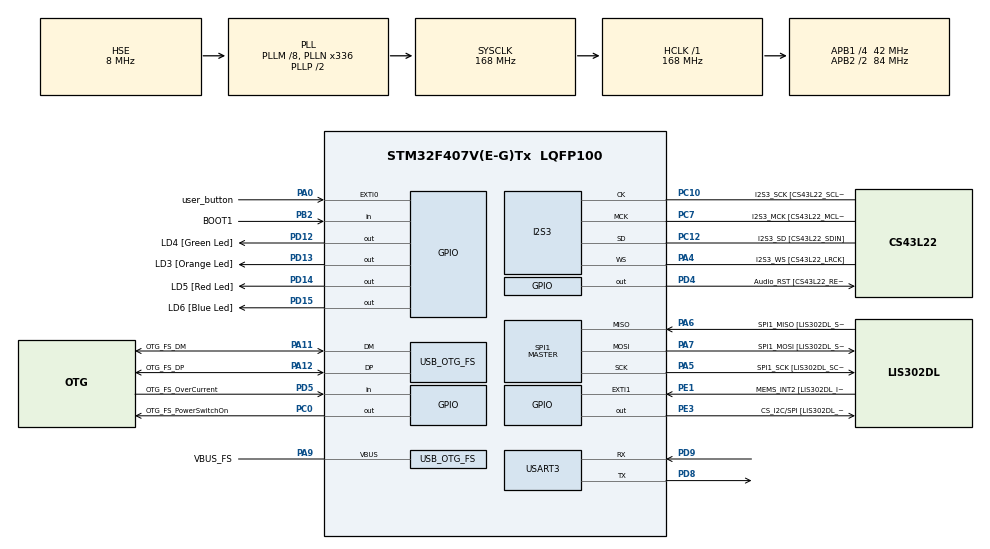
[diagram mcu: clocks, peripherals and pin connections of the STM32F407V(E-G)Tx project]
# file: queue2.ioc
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I2S3.AudioFreq-Half_Duplex_Master=I2S_AUDIOFREQ_96K
I2S3.ErrorAudioFreq=-2.34 %
I2S3.ErrorAudioFreq-Half_Duplex_Master=0.8 %
I2S3.FullDuplexMode=I2S_FULLDUPLEXMODE_DISABLE
I2S3.Instance=SPI$Index
I2S3.RealAudioFreq=93.75 KHz
I2S3.RealAudioFreq-Half_Duplex_Master=96.774 KHz
I2S3.VirtualMode=I2S_MODE_MASTER
Mcu.Family=STM32F4
Mcu.Name=STM32F407V(E-G)Tx
Mcu.Package=LQFP100
NVIC.OTG_FS_IRQn=true\:0\:0\:false\:false\:true\:true\:true\:true
NVIC.PriorityGroup=NVIC_PRIORITYGROUP_0
NVIC.USART3_IRQn=true\:0\:0\:false\:false\:true\:true\:true\:true
PA0-WKUP.GPIO_Label=user_button
PA0-WKUP.GPIO_ModeDefaultEXTI=GPIO_MODE_EVT_RISING
PA0-WKUP.GPIO_PuPd=GPIO_NOPULL
PA0-WKUP.Signal=GPXTI0
PA10.GPIO_Label=OTG_FS_ID
PA10.GPIO_Mode=GPIO_MODE_AF_PP
PA10.GPIO_PuPd=GPIO_NOPULL
PA10.GPIO_Speed=GPIO_SPEED_FREQ_LOW
PA10.Signal=USB_OTG_FS_ID
PA11.GPIO_Label=OTG_FS_DM
PA11.GPIO_Mode=GPIO_MODE_AF_PP
PA11.GPIO_PuPd=GPIO_NOPULL
PA11.GPIO_Speed=GPIO_SPEED_FREQ_LOW
PA11.Mode=Host_Only
PA11.Signal=USB_OTG_FS_DM
PA12.GPIO_Label=OTG_FS_DP
PA12.GPIO_Mode=GPIO_MODE_AF_PP
PA12.GPIO_PuPd=GPIO_NOPULL
PA12.GPIO_Speed=GPIO_SPEED_FREQ_LOW
PA12.Mode=Host_Only
PA12.Signal=USB_OTG_FS_DP
PA13.GPIO_Label=SWDIO
PA13.Mode=Serial_Wire
PA13.Signal=SYS_JTMS-SWDIO
PA14.GPIO_Label=SWCLK
PA14.Mode=Serial_Wire
PA14.Signal=SYS_JTCK-SWCLK
PA4.GPIO_Label=I2S3_WS [CS43L22_LRCK]
PA4.GPIO_Mode=GPIO_MODE_AF_PP
PA4.GPIO_PuPd=GPIO_NOPULL
PA4.GPIO_Speed=GPIO_SPEED_FREQ_LOW
PA4.Mode=Half_Duplex_Master
PA4.Signal=I2S3_WS
PA5.GPIO_Label=SPI1_SCK [LIS302DL_SCL/SPC]
PA5.GPIO_Mode=GPIO_MODE_AF_PP
PA5.GPIO_PuPd=GPIO_NOPULL
PA5.GPIO_Speed=GPIO_SPEED_FREQ_LOW
PA5.Mode=Full_Duplex_Master
PA5.Signal=SPI1_SCK
PA6.GPIO_Label=SPI1_MISO [LIS302DL_SDO]
PA6.GPIO_Mode=GPIO_MODE_AF_PP
PA6.GPIO_PuPd=GPIO_NOPULL
PA6.GPIO_Speed=GPIO_SPEED_FREQ_LOW
PA6.Mode=Full_Duplex_Master
PA6.Signal=SPI1_MISO
PA7.GPIO_Label=SPI1_MOSI [LIS302DL_SDA/SDI/SDO]
PA7.GPIO_Mode=GPIO_MODE_AF_PP
PA7.GPIO_PuPd=GPIO_NOPULL
PA7.GPIO_Speed=GPIO_SPEED_FREQ_LOW
PA7.Mode=Full_Duplex_Master
PA7.Signal=SPI1_MOSI
PA9.GPIO_Label=VBUS_FS
PA9.GPIO_Mode=GPIO_MODE_INPUT
PA9.GPIO_PuPd=GPIO_NOPULL
PA9.Mode=Activate_VBUS
PA9.Signal=USB_OTG_FS_VBUS
PB10.GPIO_Label=CLK_IN [MP45DT02_CLK]
PB10.GPIO_Mode=GPIO_MODE_AF_PP
PB10.GPIO_PuPd=GPIO_NOPULL
PB10.GPIO_Speed=GPIO_SPEED_FREQ_LOW
PB10.Signal=I2S2_CK
PB2.GPIO_Label=BOOT1
PB2.GPIO_Mode=GPIO_MODE_INPUT
PB2.GPIO_PuPd=GPIO_NOPULL
PB2.Signal=GPIO_Input
PB3.GPIO_Label=SWO
PB3.Signal=SYS_JTDO-SWO
PB6.GPIO_Label=Audio_SCL [CS43L22_SCL]
PB6.GPIO_Mode=GPIO_MODE_AF_OD
PB6.GPIO_Pu=GPIO_PULLUP
PB6.GPIO_PuPd=GPIO_NOPULL
PB6.GPIO_Speed=GPIO_SPEED_FREQ_LOW
PB6.Signal=I2C1_SCL
PB9.GPIO_Label=Audio_SDA [CS43L22_SDA]
PB9.GPIO_Mode=GPIO_MODE_AF_OD
PB9.GPIO_Pu=GPIO_PULLUP
PB9.GPIO_PuPd=GPIO_NOPULL
PB9.GPIO_Speed=GPIO_SPEED_FREQ_LOW
PB9.Signal=I2C1_SDA
PC0.GPIO_Label=OTG_FS_PowerSwitchOn
PC0.GPIO_PuPd=GPIO_NOPULL
PC0.GPIO_Speed=GPIO_SPEED_FREQ_LOW
PC0.PinState=GPIO_PIN_SET
PC0.Signal=GPIO_Output
PC10.GPIO_Label=I2S3_SCK [CS43L22_SCLK]
PC10.GPIO_Mode=GPIO_MODE_AF_PP
PC10.GPIO_PuPd=GPIO_NOPULL
PC10.GPIO_Speed=GPIO_SPEED_FREQ_LOW
PC10.Mode=Half_Duplex_Master
PC10.Signal=I2S3_CK
PC12.GPIO_Label=I2S3_SD [CS43L22_SDIN]
PC12.GPIO_Mode=GPIO_MODE_AF_PP
PC12.GPIO_PuPd=GPIO_NOPULL
PC12.GPIO_Speed=GPIO_SPEED_FREQ_LOW
PC12.Mode=Half_Duplex_Master
PC12.Signal=I2S3_SD
PC14-OSC32_IN.GPIO_Label=PC14-OSC32_IN
PC14-OSC32_IN.Mode=LSE-External-Oscillator
PC14-OSC32_IN.Signal=RCC_OSC32_IN
PC15-OSC32_OUT.GPIO_Label=PC15-OSC32_OUT
PC15-OSC32_OUT.Mode=LSE-External-Oscillator
PC15-OSC32_OUT.Signal=RCC_OSC32_OUT
PC3.GPIO_Label=PDM_OUT [MP45DT02_DOUT]
PC3.GPIO_Mode=GPIO_MODE_AF_PP
PC3.GPIO_PuPd=GPIO_NOPULL
PC3.GPIO_Speed=GPIO_SPEED_FREQ_LOW
PC3.Signal=I2S2_SD
PC7.GPIO_Label=I2S3_MCK [CS43L22_MCLK]
PC7.GPIO_Mode=GPIO_MODE_AF_PP
PC7.GPIO_PuPd=GPIO_NOPULL
PC7.GPIO_Speed=GPIO_SPEED_FREQ_LOW
PC7.Mode=Master_Clock_Activated
PC7.Signal=I2S3_MCK
PD12.GPIO_Label=LD4 [Green Led]
PD12.GPIO_PuPd=GPIO_NOPULL
PD12.GPIO_Speed=GPIO_SPEED_FREQ_LOW
PD12.Signal=GPIO_Output
PD13.GPIO_Label=LD3 [Orange Led]
PD13.GPIO_PuPd=GPIO_NOPULL
PD13.GPIO_Speed=GPIO_SPEED_FREQ_LOW
PD13.Signal=GPIO_Output
PD14.GPIO_Label=LD5 [Red Led]
PD14.GPIO_PuPd=GPIO_NOPULL
PD14.GPIO_Speed=GPIO_SPEED_FREQ_LOW
PD14.Signal=GPIO_Output
PD15.GPIO_Label=LD6 [Blue Led]
PD15.GPIO_PuPd=GPIO_NOPULL
PD15.GPIO_Speed=GPIO_SPEED_FREQ_LOW
PD15.Signal=GPIO_Output
PD4.GPIO_Label=Audio_RST [CS43L22_RESET]
PD4.GPIO_PuPd=GPIO_NOPULL
PD4.GPIO_Speed=GPIO_SPEED_FREQ_LOW
PD4.Signal=GPIO_Output
PD5.GPIO_Label=OTG_FS_OverCurrent
PD5.GPIO_Mode=GPIO_MODE_INPUT
PD5.GPIO_PuPd=GPIO_NOPULL
PD5.Signal=GPIO_Input
PD8.Mode=Asynchronous
PD8.Signal=USART3_TX
PD9.Mode=Asynchronous
PD9.Signal=USART3_RX
PE1.GPIO_Label=MEMS_INT2 [LIS302DL_INT2]
PE1.GPIO_ModeDefaultEXTI=GPIO_MODE_EVT_RISING
PE1.GPIO_PuPd=GPIO_NOPULL
PE1.Signal=GPXTI1
PE3.GPIO_Label=CS_I2C/SPI [LIS302DL_CS_I2C/SPI]
PE3.GPIO_PuPd=GPIO_NOPULL
PE3.GPIO_Speed=GPIO_SPEED_FREQ_LOW
PE3.Signal=GPIO_Output
PH0-OSC_IN.GPIO_Label=PH0-OSC_IN
PH0-OSC_IN.Mode=HSE-External-Oscillator
PH0-OSC_IN.Signal=RCC_OSC_IN
PH1-OSC_OUT.GPIO_Label=PH1-OSC_OUT
PH1-OSC_OUT.Mode=HSE-External-Oscillator
PH1-OSC_OUT.Signal=RCC_OSC_OUT
ProjectManager.HeapSize=0x200
ProjectManager.StackSize=0x400
ProjectManager.TargetToolchain=STM32CubeIDE
RCC.48MHZClocksFreq_Value=48000000
RCC.AHBFreq_Value=168000000
RCC.APB1CLKDivider=RCC_HCLK_DIV4
RCC.APB1Freq_Value=42000000
RCC.APB1TimFreq_Value=84000000
RCC.APB2CLKDivider=RCC_HCLK_DIV2
RCC.APB2Freq_Value=84000000
RCC.APB2TimFreq_Value=168000000
RCC.CortexFreq_Value=168000000
RCC.HCLKFreq_Value=168000000
RCC.HSE_VALUE=8000000
RCC.HSI_VALUE=16000000
RCC.PLLM=8
RCC.PLLN=336
RCC.PLLQ=7
RCC.SYSCLKFreq_VALUE=168000000
RCC.SYSCLKSource=RCC_SYSCLKSOURCE_PLLCLK
RCC.VCOOutputFreq_Value=336000000
SPI1.BaudRatePrescaler-Full_Duplex_Master=SPI_BAUDRATEPRESCALER_2
SPI1.CalculateBaudRate-Full_Duplex_Master=42.0 MBits/s
SPI1.Direction=SPI_DIRECTION_2LINES
SPI1.Mode=SPI_MODE_MASTER
SPI1.Mode-Full_Duplex_Master=SPI_MODE_MASTER
SPI1.VirtualType=VM_MASTER
USART3.VirtualMode=VM_ASYNC
USB_HOST.BSP.number=1
USB_HOST.USBH_HandleTypeDef-CDC_FS=hUsbHostFS
USB_HOST.VirtualModeFS=Cdc
USB_HOST0.BSP.STBoard=false
USB_HOST0.BSP.api=Unknown
USB_HOST0.BSP.instance=PC0
USB_HOST0.BSP.ip=GPIO
USB_HOST0.BSP.mode=Output
USB_HOST0.BSP.name=Drive_VBUS_FS
USB_HOST0.BSP.solution=PC0
USB_OTG_FS.VirtualMode=Host_Only
USB_OTG_FS.phy_itface=HCD_PHY_EMBEDDED
VP_USB_HOST_VS_USB_HOST_CDC_FS.Mode=CDC_FS
board=STM32F407G-DISC1

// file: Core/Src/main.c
/* USER CODE BEGIN Header */
/**
  ******************************************************************************
  * @file           : main.c
  * @brief          : Main program body
  ******************************************************************************
  * @attention
  *
  * Copyright (c) 2022 STMicroelectronics.
  * All rights reserved.
  *
  * This software is licensed under terms that can be found in the LICENSE file
  * in the root directory of this software component.
  * If no LICENSE file comes with this software, it is provided AS-IS.
  *
  ******************************************************************************
  */
/* USER CODE END Header */
#include "main.h"
#include "usb_host.h"

/* USER CODE BEGIN Includes */
#include <stdio.h>
#include <stdbool.h>
#include <string.h>

#include "queue.h"

//#include <sys/msg.h>
/* USER CODE END Includes */

/* USER CODE BEGIN PTD */

Queue rx_Int_queue;

uint8_t uart_RX_data = 0;					// Buffer for receive one char

/* USER CODE END PTD */

I2S_HandleTypeDef hi2s3;

SPI_HandleTypeDef hspi1;

UART_HandleTypeDef huart3;

void SystemClock_Config(void);
static void MX_GPIO_Init(void);
static void MX_I2S3_Init(void);
static void MX_SPI1_Init(void);
static void MX_USART3_UART_Init(void);
void MX_USB_HOST_Process(void);

/* USER CODE BEGIN PFP */

// ------------------------------------------------------------------------------------------------
void print_text(char * text)
{
	int buf_size = 0;
	char buff[50] = {0};

	for(buf_size = 0; buf_size <= 100; buf_size++)
	{
		if(text[buf_size] == '\r')
		{
			buf_size++;
			break;
		}
	}

	memset(buff, text, buf_size);
	HAL_UART_Transmit_IT(&huart3, text, buf_size);
	HAL_Delay(10);
}
// ------------------------------------------------------------------------------------------------
#ifdef __GNUC__
#define PUTCHAR_PROTOTYPE int __io_putchar(int ch)
#else
#define PUTCHAR_PROTOTYPE int fputc(int ch, FILE *f)
#endif

PUTCHAR_PROTOTYPE
{
  HAL_UART_Transmit(&huart3, (uint8_t *)&ch, 1, HAL_MAX_DELAY);
  return ch;
}
/* USER CODE END PFP */

int main(void)
{

  /* MCU Configuration--------------------------------------------------------*/

  /* Reset of all peripherals, Initializes the Flash interface and the Systick. */
  HAL_Init();

  /* Configure the system clock */
  SystemClock_Config();

  /* Initialize all configured peripherals */
  MX_GPIO_Init();
  MX_I2S3_Init();
  MX_SPI1_Init();
  MX_USB_HOST_Init();
  MX_USART3_UART_Init();
  /* USER CODE BEGIN 2 */

  uint32_t tm_ms_tick;
  uint8_t sw, sw_old;
  uint16_t cnt_rcv, i;

//  char msg_buf[30] = {0};
//  strcat(msg_buf, "Hello \n\r");
//  HAL_UART_Transmit_IT(&huart3, msg_buf, sizeof(msg_buf));
  HAL_Delay(100);

  InitQueue(&rx_Int_queue);
  // __HAL_UART_ENABLE_IT(&huart3, UART_IT_RXNE);
  HAL_UART_Receive_IT(&huart3, &uart_RX_data, 1);

  tm_ms_tick = HAL_GetTick();
  sw = sw_old = HAL_GPIO_ReadPin(GPIOA, user_button_Pin);

  /* USER CODE END 2 */

  /* Infinite loop */
  /* USER CODE BEGIN WHILE */
  while (1)
  {

	  if ((HAL_GetTick() - tm_ms_tick) > 500)
	  {
		  tm_ms_tick = HAL_GetTick();
		  HAL_GPIO_TogglePin(GPIOD,LD4_Pin);

		  sw_old = sw;
		  sw = HAL_GPIO_ReadPin(GPIOA, user_button_Pin);

		  if (sw != sw_old)
		  {
			  if (sw)
			  {
				  printf("User button Pressed\n\r");
				  printf("UART3 Queue IsEmpty() = %d\r\n",IsEmpty(&rx_Int_queue));
				  cnt_rcv = len_queue(&rx_Int_queue);
				  printf("UART3 recieved data num = %d\r\n",cnt_rcv);
				  printf("Recieved data = ");

				  for(i=0; i<cnt_rcv; i++)
				  {
					  printf("%c",Dequeue(&rx_Int_queue));
				  }
				  printf("\n\r");
	  			}
	  		}
	  	}

    /* USER CODE END WHILE */
    MX_USB_HOST_Process();

  }
}

void SystemClock_Config(void)
{
  RCC_OscInitTypeDef RCC_OscInitStruct = {0};
  RCC_ClkInitTypeDef RCC_ClkInitStruct = {0};

  /** Configure the main internal regulator output voltage
  */
  __HAL_RCC_PWR_CLK_ENABLE();
  __HAL_PWR_VOLTAGESCALING_CONFIG(PWR_REGULATOR_VOLTAGE_SCALE1);

  /** Initializes the RCC Oscillators according to the specified parameters
  * in the RCC_OscInitTypeDef structure.
  */
  RCC_OscInitStruct.OscillatorType = RCC_OSCILLATORTYPE_HSE;
  RCC_OscInitStruct.HSEState = RCC_HSE_ON;
  RCC_OscInitStruct.PLL.PLLState = RCC_PLL_ON;
  RCC_OscInitStruct.PLL.PLLSource = RCC_PLLSOURCE_HSE;
  RCC_OscInitStruct.PLL.PLLM = 8;
  RCC_OscInitStruct.PLL.PLLN = 336;
  RCC_OscInitStruct.PLL.PLLP = RCC_PLLP_DIV2;
  RCC_OscInitStruct.PLL.PLLQ = 7;
  if (HAL_RCC_OscConfig(&RCC_OscInitStruct) != HAL_OK)
  {
    Error_Handler();
  }

  /** Initializes the CPU, AHB and APB buses clocks
  */
  RCC_ClkInitStruct.ClockType = RCC_CLOCKTYPE_HCLK|RCC_CLOCKTYPE_SYSCLK
                              |RCC_CLOCKTYPE_PCLK1|RCC_CLOCKTYPE_PCLK2;
  RCC_ClkInitStruct.SYSCLKSource = RCC_SYSCLKSOURCE_PLLCLK;
  RCC_ClkInitStruct.AHBCLKDivider = RCC_SYSCLK_DIV1;
  RCC_ClkInitStruct.APB1CLKDivider = RCC_HCLK_DIV4;
  RCC_ClkInitStruct.APB2CLKDivider = RCC_HCLK_DIV2;

  if (HAL_RCC_ClockConfig(&RCC_ClkInitStruct, FLASH_LATENCY_5) != HAL_OK)
  {
    Error_Handler();
  }
}

static void MX_I2S3_Init(void)
{

  hi2s3.Instance = SPI3;
  hi2s3.Init.Mode = I2S_MODE_MASTER_TX;
  hi2s3.Init.Standard = I2S_STANDARD_PHILIPS;
  hi2s3.Init.DataFormat = I2S_DATAFORMAT_16B;
  hi2s3.Init.MCLKOutput = I2S_MCLKOUTPUT_ENABLE;
  hi2s3.Init.AudioFreq = I2S_AUDIOFREQ_96K;
  hi2s3.Init.CPOL = I2S_CPOL_LOW;
  hi2s3.Init.ClockSource = I2S_CLOCK_PLL;
  hi2s3.Init.FullDuplexMode = I2S_FULLDUPLEXMODE_DISABLE;
  if (HAL_I2S_Init(&hi2s3) != HAL_OK)
  {
    Error_Handler();
  }

}

static void MX_SPI1_Init(void)
{

  /* SPI1 parameter configuration*/
  hspi1.Instance = SPI1;
  hspi1.Init.Mode = SPI_MODE_MASTER;
  hspi1.Init.Direction = SPI_DIRECTION_2LINES;
  hspi1.Init.DataSize = SPI_DATASIZE_8BIT;
  hspi1.Init.CLKPolarity = SPI_POLARITY_LOW;
  hspi1.Init.CLKPhase = SPI_PHASE_1EDGE;
  hspi1.Init.NSS = SPI_NSS_SOFT;
  hspi1.Init.BaudRatePrescaler = SPI_BAUDRATEPRESCALER_2;
  hspi1.Init.FirstBit = SPI_FIRSTBIT_MSB;
  hspi1.Init.TIMode = SPI_TIMODE_DISABLE;
  hspi1.Init.CRCCalculation = SPI_CRCCALCULATION_DISABLE;
  hspi1.Init.CRCPolynomial = 10;
  if (HAL_SPI_Init(&hspi1) != HAL_OK)
  {
    Error_Handler();
  }

}

static void MX_USART3_UART_Init(void)
{

  huart3.Instance = USART3;
  huart3.Init.BaudRate = 115200;
  huart3.Init.WordLength = UART_WORDLENGTH_8B;
  huart3.Init.StopBits = UART_STOPBITS_1;
  huart3.Init.Parity = UART_PARITY_NONE;
  huart3.Init.Mode = UART_MODE_TX_RX;
  huart3.Init.HwFlowCtl = UART_HWCONTROL_NONE;
  huart3.Init.OverSampling = UART_OVERSAMPLING_16;
  if (HAL_UART_Init(&huart3) != HAL_OK)
  {
    Error_Handler();
  }

}

static void MX_GPIO_Init(void)
{
  GPIO_InitTypeDef GPIO_InitStruct = {0};

  /* GPIO Ports Clock Enable */
  __HAL_RCC_GPIOE_CLK_ENABLE();
  __HAL_RCC_GPIOC_CLK_ENABLE();
  __HAL_RCC_GPIOH_CLK_ENABLE();
  __HAL_RCC_GPIOA_CLK_ENABLE();
  __HAL_RCC_GPIOB_CLK_ENABLE();
  __HAL_RCC_GPIOD_CLK_ENABLE();

  /*Configure GPIO pin Output Level */
  HAL_GPIO_WritePin(CS_I2C_SPI_GPIO_Port, CS_I2C_SPI_Pin, GPIO_PIN_RESET);

  /*Configure GPIO pin Output Level */
  HAL_GPIO_WritePin(OTG_FS_PowerSwitchOn_GPIO_Port, OTG_FS_PowerSwitchOn_Pin, GPIO_PIN_SET);

  /*Configure GPIO pin Output Level */
  HAL_GPIO_WritePin(GPIOD, LD4_Pin|LD3_Pin|LD5_Pin|LD6_Pin
                          |Audio_RST_Pin, GPIO_PIN_RESET);

  /*Configure GPIO pin : CS_I2C_SPI_Pin */
  GPIO_InitStruct.Pin = CS_I2C_SPI_Pin;
  GPIO_InitStruct.Mode = GPIO_MODE_OUTPUT_PP;
  GPIO_InitStruct.Pull = GPIO_NOPULL;
  GPIO_InitStruct.Speed = GPIO_SPEED_FREQ_LOW;
  HAL_GPIO_Init(CS_I2C_SPI_GPIO_Port, &GPIO_InitStruct);

  /*Configure GPIO pin : OTG_FS_PowerSwitchOn_Pin */
  GPIO_InitStruct.Pin = OTG_FS_PowerSwitchOn_Pin;
  GPIO_InitStruct.Mode = GPIO_MODE_OUTPUT_PP;
  GPIO_InitStruct.Pull = GPIO_NOPULL;
  GPIO_InitStruct.Speed = GPIO_SPEED_FREQ_LOW;
  HAL_GPIO_Init(OTG_FS_PowerSwitchOn_GPIO_Port, &GPIO_InitStruct);

  /*Configure GPIO pin : PDM_OUT_Pin */
  GPIO_InitStruct.Pin = PDM_OUT_Pin;
  GPIO_InitStruct.Mode = GPIO_MODE_AF_PP;
  GPIO_InitStruct.Pull = GPIO_NOPULL;
  GPIO_InitStruct.Speed = GPIO_SPEED_FREQ_LOW;
  GPIO_InitStruct.Alternate = GPIO_AF5_SPI2;
  HAL_GPIO_Init(PDM_OUT_GPIO_Port, &GPIO_InitStruct);

  /*Configure GPIO pin : user_button_Pin */
  GPIO_InitStruct.Pin = user_button_Pin;
  GPIO_InitStruct.Mode = GPIO_MODE_EVT_RISING;
  GPIO_InitStruct.Pull = GPIO_NOPULL;
  HAL_GPIO_Init(user_button_GPIO_Port, &GPIO_InitStruct);

  /*Configure GPIO pin : BOOT1_Pin */
  GPIO_InitStruct.Pin = BOOT1_Pin;
  GPIO_InitStruct.Mode = GPIO_MODE_INPUT;
  GPIO_InitStruct.Pull = GPIO_NOPULL;
  HAL_GPIO_Init(BOOT1_GPIO_Port, &GPIO_InitStruct);

  /*Configure GPIO pin : CLK_IN_Pin */
  GPIO_InitStruct.Pin = CLK_IN_Pin;
  GPIO_InitStruct.Mode = GPIO_MODE_AF_PP;
  GPIO_InitStruct.Pull = GPIO_NOPULL;
  GPIO_InitStruct.Speed = GPIO_SPEED_FREQ_LOW;
  GPIO_InitStruct.Alternate = GPIO_AF5_SPI2;
  HAL_GPIO_Init(CLK_IN_GPIO_Port, &GPIO_InitStruct);

  /*Configure GPIO pins : LD4_Pin LD3_Pin LD5_Pin LD6_Pin
                           Audio_RST_Pin */
  GPIO_InitStruct.Pin = LD4_Pin|LD3_Pin|LD5_Pin|LD6_Pin
                          |Audio_RST_Pin;
  GPIO_InitStruct.Mode = GPIO_MODE_OUTPUT_PP;
  GPIO_InitStruct.Pull = GPIO_NOPULL;
  GPIO_InitStruct.Speed = GPIO_SPEED_FREQ_LOW;
  HAL_GPIO_Init(GPIOD, &GPIO_InitStruct);

  /*Configure GPIO pin : OTG_FS_OverCurrent_Pin */
  GPIO_InitStruct.Pin = OTG_FS_OverCurrent_Pin;
  GPIO_InitStruct.Mode = GPIO_MODE_INPUT;
  GPIO_InitStruct.Pull = GPIO_NOPULL;
  HAL_GPIO_Init(OTG_FS_OverCurrent_GPIO_Port, &GPIO_InitStruct);

  /*Configure GPIO pins : Audio_SCL_Pin Audio_SDA_Pin */
  GPIO_InitStruct.Pin = Audio_SCL_Pin|Audio_SDA_Pin;
  GPIO_InitStruct.Mode = GPIO_MODE_AF_OD;
  GPIO_InitStruct.Pull = GPIO_PULLUP;
  GPIO_InitStruct.Speed = GPIO_SPEED_FREQ_LOW;
  GPIO_InitStruct.Alternate = GPIO_AF4_I2C1;
  HAL_GPIO_Init(GPIOB, &GPIO_InitStruct);

  /*Configure GPIO pin : MEMS_INT2_Pin */
  GPIO_InitStruct.Pin = MEMS_INT2_Pin;
  GPIO_InitStruct.Mode = GPIO_MODE_EVT_RISING;
  GPIO_InitStruct.Pull = GPIO_NOPULL;
  HAL_GPIO_Init(MEMS_INT2_GPIO_Port, &GPIO_InitStruct);

}

/* USER CODE BEGIN 4 */
void HAL_UART_RxCpltCallback(UART_HandleTypeDef *huart)
{
	if(huart -> Instance == USART3)
	{
		uint8_t r_dat = 0;
		r_dat = (uint8_t)huart3.Instance->DR;
		Enqueue(&rx_Int_queue, r_dat);

		HAL_UART_Receive_IT(&huart3, &uart_RX_data, 1);
		//HAL_UART_Transmit_IT(&huart3, &uart_RX_data, 1);
	}
}
/* USER CODE END 4 */

void Error_Handler(void)
{
  __disable_irq();
  while (1)
  {
  }
}
